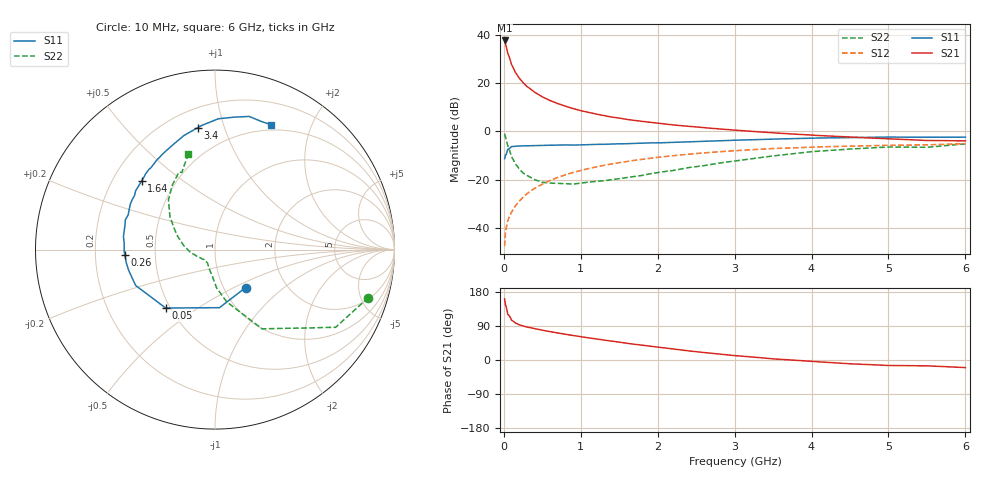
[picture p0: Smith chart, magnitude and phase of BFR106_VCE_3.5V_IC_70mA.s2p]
! Infineon Technologies  Discrete & RF Semiconductors
! BFR106
! VCE =  3.5 V,  IC =  70 mA
! Common Emitter S-Parameters:  Nov 2015
# GHz  S  MA  R  50
!  f  S11  S21  S12  S22
! GHz  MAG  ANG  MAG  ANG  MAG  ANG  MAG  ANG
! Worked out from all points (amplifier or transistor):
!   210 points, 10 MHz to 6 GHz, reference 50 ohm
!   highest |S21| = 37.9 dB at 10 MHz (marker M1)
!   |S21| within 3 dB of that: start of sweep to 34.33 MHz
!   unconditionally stable (mu >= 1): 206.3 MHz to 2.44 GHz
!   at 185 MHz: K = 0.97, MSG = 26.3 dB, |S12| = -29.6 dB
!   at 1.52 GHz: K = 1.05, MAG = 7.8 dB, |S12| = -12.9 dB
!   at 6 GHz: K = 0.99, MSG = 0.6 dB, |S12| = -5.1 dB
!   S11 on the Smith chart (normalised r, x): 10 MHz: 1.26, -0.58; 50 MHz: 0.47, -0.38; 260 MHz: 0.33, -0.03; 1.64 GHz: 0.32, +0.36; 3.4 GHz: 0.32, +0.82; 6 GHz: 0.44, +1.46
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0.01  0.2718 -51.2  78.56 161.2  0.0041 77.9  0.895 -17.4
0.02  0.3245 -85.6  69.25 146.6  0.0076 72.2  0.7994 -32.8
0.05  0.4263 -130.2  43.42 121.2  0.0137 62.4  0.5135 -59.3
0.1  0.4851 -155.7  24.8 105.0  0.0209 63.4  0.2972 -77.5
0.15  0.4947 -166.0  16.95 97.4  0.0282 67.5  0.2126 -87.7
0.2  0.5 -171.8  12.91 92.9  0.0353 70.6  0.1661 -92.5
0.24  0.5015 -175.3  10.85 90.2  0.0413 71.3  0.142 -97.4
0.26  0.5029 -176.7  10.01 89.0  0.0443 71.8  0.1333 -99.7
0.3  0.5063 -178.6  8.663 87.0  0.0504 72.8  0.1218 -103.3
0.4  0.507 176.1  6.561 82.6  0.0654 73.2  0.0998 -111.3
0.5  0.5152 171.9  5.263 78.6  0.0799 72.7  0.0876 -117.1
0.6  0.5169 168.1  4.412 74.8  0.0952 72.1  0.0843 -121.6
0.7  0.5199 164.6  3.812 71.1  0.1105 71.1  0.0837 -127.4
1.02  0.5297 154.1  2.669 60.9  0.1574 67.0  0.0848 -140.3
1.3  0.5403 146.0  2.139 52.5  0.1972 62.7  0.0942 -151.4
1.64  0.5599 136.8  1.747 43.0  0.2433 57.4  0.1128 -163.2
2.02  0.5806 127.4  1.472 33.4  0.292 51.4  0.1416 -175.6
3.1  0.6644 103.4  1.041 10.1  0.4069 34.2  0.2543 152.9
3.4  0.6864 98.0  0.962 4.9  0.433 29.7  0.2955 145.9
4.1  0.7318 87.1  0.824 -4.9  0.4787 19.3  0.3895 130.9
5.1  0.7639 74.4  0.694 -14.7  0.5179 7.0  0.4744 114.6
6  0.7634 65.8  0.639 -20.0  0.559 -2.5  0.5535 105.6
